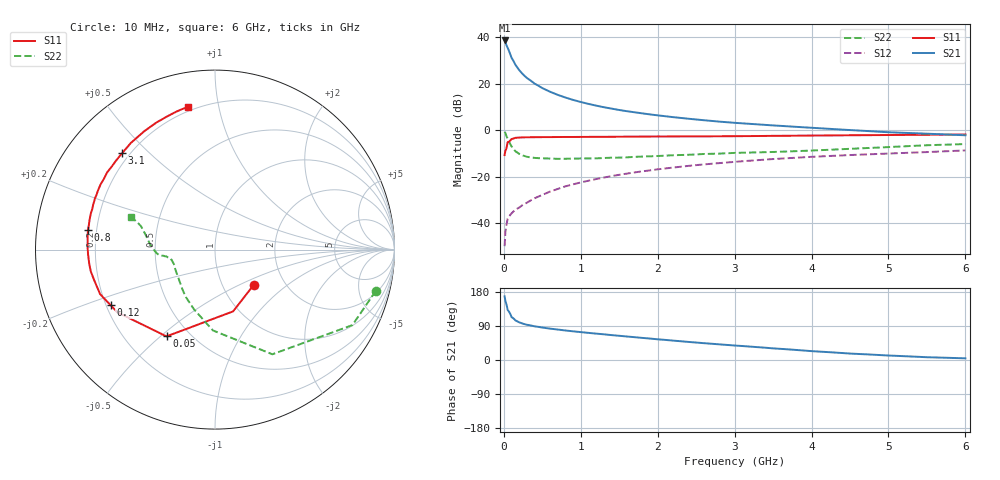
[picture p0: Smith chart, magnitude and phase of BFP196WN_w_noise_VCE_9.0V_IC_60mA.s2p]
! Infineon Technologies  Discrete & RF Semiconductors
! BFP196WN
! VCE =  9.0 V,  IC =  60 mA
! Common Emitter S-Parameters:  Jan 2017
# GHz  S  MA  R  50
!  f  S11  S21  S12  S22
! GHz  MAG  ANG  MAG  ANG  MAG  ANG  MAG  ANG
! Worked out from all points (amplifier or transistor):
!   77 points, 10 MHz to 6 GHz, reference 50 ohm
!   highest |S21| = 38.6 dB at 10 MHz (marker M1)
!   |S21| within 3 dB of that: start of sweep to 47.02 MHz
!   unconditionally stable (mu >= 1): 637.8 MHz to 2.661 GHz
!   at 130 MHz: K = 0.56, MSG = 32.1 dB, |S12| = -34.8 dB
!   at 2.2 GHz: K = 1.02, MAG = 10.1 dB, |S12| = -16.1 dB
!   at 6 GHz: K = 0.90, MSG = 3.3 dB, |S12| = -8.7 dB
!   lowest NFmin = 1.38 dB at 450 MHz
!   S11 on the Smith chart (normalised r, x): 10 MHz: 1.41, -0.60; 50 MHz: 0.38, -0.52; 120 MHz: 0.22, -0.24; 800 MHz: 0.17, +0.07; 3.1 GHz: 0.17, +0.41; 6 GHz: 0.18, +0.81
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0.01  0.2917 -41.9  85.39 168.0  0.0032 75.9  0.925 -14.4
0.02  0.3588 -73.7  78.11 156.1  0.0064 71.8  0.8734 -28.8
0.05  0.5537 -119.2  59.01 131.9  0.0125 53.6  0.665 -61.3
0.1  0.6462 -147.2  36.26 113.3  0.0163 50.2  0.4504 -91.5
0.12  0.659 -152.0  31.95 110.5  0.0176 50.1  0.407 -97.6
0.15  0.6865 -158.8  25.68 104.6  0.0195 50.0  0.353 -109.3
0.2  0.6938 -165.5  19.6 99.4  0.0217 53.4  0.31 -121.7
0.25  0.7023 -169.8  15.85 95.7  0.025 55.6  0.2855 -129.7
0.3  0.7051 -173.1  13.29 93.0  0.0276 57.7  0.2678 -136.7
0.4  0.7077 -177.8  10.05 88.8  0.0343 62.0  0.2538 -145.4
0.5  0.71 178.9  8.065 85.6  0.0406 64.8  0.2483 -151.5
0.6  0.7109 176.1  6.737 82.8  0.0478 66.6  0.2458 -156.0
0.7  0.7139 173.7  5.769 80.4  0.0545 67.9  0.2422 -159.1
0.8  0.7159 171.2  5.056 77.9  0.062 69.0  0.243 -161.1
0.9  0.7159 169.0  4.487 75.7  0.0685 68.5  0.245 -163.0
1.1  0.7193 165.3  3.684 71.6  0.082 68.8  0.2473 -166.0
1.5  0.7244 158.6  2.724 63.9  0.1099 67.4  0.2578 -170.0
2.1  0.7336 148.9  2 53.0  0.1506 63.8  0.2841 -172.7
3.1  0.7457 134.0  1.406 36.9  0.2147 56.0  0.328 -177.0
4.1  0.7697 119.7  1.104 22.2  0.2722 47.7  0.3712 173.2
5.1  0.79 109.0  0.892 11.0  0.3196 40.2  0.4418 161.8
6  0.8096 100.9  0.779 4.4  0.3675 34.2  0.5037 159.0
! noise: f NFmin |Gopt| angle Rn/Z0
0.45  1.38  0.55  -177  0.05
0.9  1.49  0.57  -169  0.06
1.9  2.42  0.69  -147  0.18
2.4  3.19  0.7  -139  0.3
